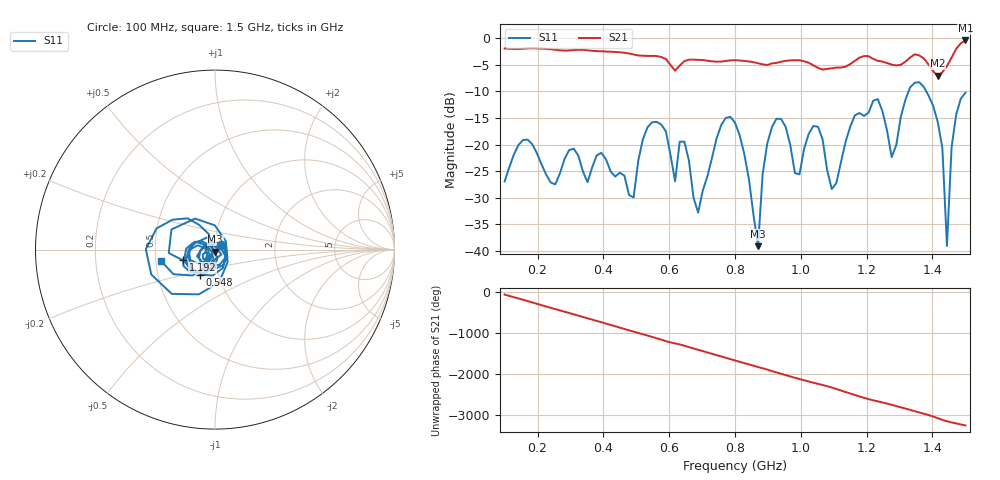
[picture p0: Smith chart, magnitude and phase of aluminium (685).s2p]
! NanoVNA-App
! Date: 2025-09-25 15:00:37
! Start: 100MHz Stop: 1,5GHz Points: 101
! S-Parameter data: F S11 S21 S12 S22
# Hz S RI R 50
!  Frequency  S11_Real  S11_Imag  S21_Real  S21_Imag  S12_Real  S12_Imag  S22_Real  S22_Imag
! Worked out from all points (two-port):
!   101 points, 100 MHz to 1.5 GHz, reference 50 ohm
!   highest |S21| = -0.42 dB at 1.5 GHz (marker M1); lowest = -7.1 dB at 1.416 GHz (marker M2)
!   |S21| within 3 dB of the highest: start of sweep to 567.3 MHz; 1.46 GHz to end of sweep (the widest 2 of 4)
!   lowest |S11| = -39.1 dB at 870 MHz (marker M3), VSWR 1.02, Z = 50.1 - j1.1 ohm
!   |S11| at or under -10 dB: start of sweep to 1.327 GHz; 1.381 GHz to end of sweep
!   S12 and S22 are empty: the file has one direction only
!   S11 on the Smith chart (normalised r, x): 100 MHz: 1.07, +0.06; 548 MHz: 0.82, -0.23; 1.192 GHz: 0.70, -0.08; 1.5 GHz: 0.53, -0.07
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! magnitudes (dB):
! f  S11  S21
! 100 MHz  -27.0  -1.9
! 156 MHz  -19.2  -2.0
! 338 MHz  -25.1  -2.2
! 492 MHz  -30.0  -3.1
! 548 MHz  -15.8  -3.3
! 576 MHz  -16.2  -3.5
! 618 MHz  -26.9  -6.1
! 646 MHz  -19.4  -4.3
! 688 MHz  -32.8  -4.1
! 800 MHz  -15.9  -4.1
! 870 MHz  -39.1  -4.7
! 912 MHz  -16.8  -4.7
! 996 MHz  -25.6  -4.1
! 1.038 GHz  -16.5  -5.1
! 1.094 GHz  -28.4  -5.7
! 1.192 GHz  -14.6  -3.4
! 1.276 GHz  -22.4  -5.0
! 1.346 GHz  -8.4  -3.0
! 1.416 GHz  -15.8  -7.1
! 1.444 GHz  -39.1  -5.3
! 1.458 GHz  -20.5  -3.6
! 1.5 GHz  -10.3  -0.4
